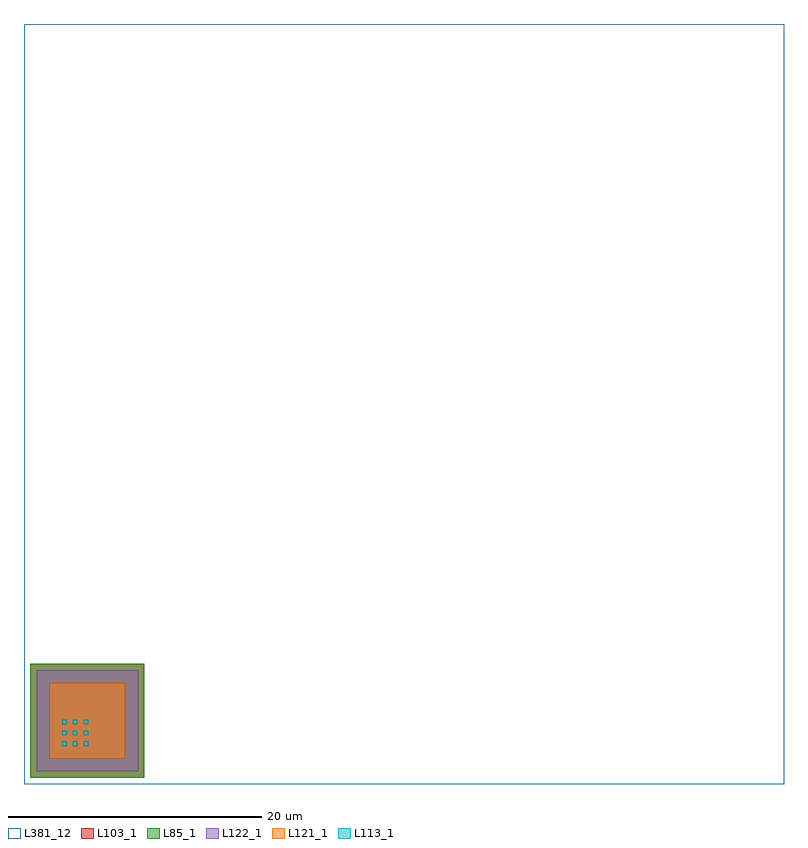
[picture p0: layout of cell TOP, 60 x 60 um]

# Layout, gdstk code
import gdstk
lib = gdstk.Library(unit=1e-6, precision=1e-09)
def R(c, l, rs):  # rectangles x0, y0, x1, y1
    for r in rs: c.add(gdstk.rectangle(r[:2], r[2:], *l))
def A(c, l, x, y, w, h, nx, ny, dx, dy):  # array of equal rectangles
    R(c, l, [(x+i*dx, y+j*dy, x+i*dx+w, y+j*dy+h) for i in range(nx) for j in range(ny)])
L85_1 = (85, 1)
L103_1 = (103, 1)
L113_1 = (113, 1)
L121_1 = (121, 1)
L122_1 = (122, 1)
L381_12 = (381, 12)

top = lib.new_cell('TOP')
R(top, L85_1, [(0.5,0.5,9.5,9.5)])
R(top, L103_1, [(0.5,0.5,9.5,9.5)])
A(top, L113_1, 3, 3, 0.36, 0.36, 3, 3, 0.86, 0.86)
R(top, L121_1, [(2,2,8,8)])
R(top, L122_1, [(1,1,9,9)])
R(top, L381_12, [(0,0,60,60)])

lib.write_gds('TOP.gds')
